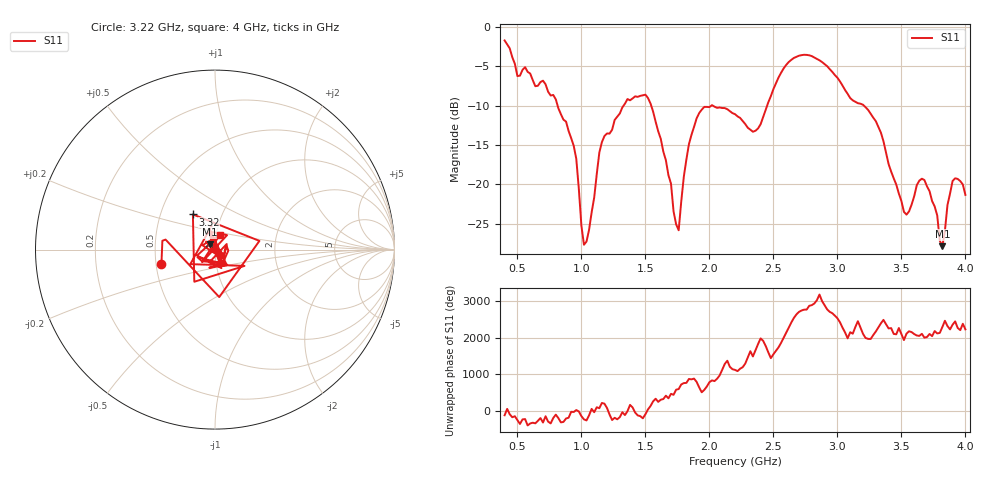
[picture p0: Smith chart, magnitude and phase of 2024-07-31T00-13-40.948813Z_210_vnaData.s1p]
!Created with skrf (http://scikit-rf.org).
# Hz S RI R 50.0
!freq ReS11 ImS11
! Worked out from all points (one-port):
!   181 points, 400 MHz to 4 GHz, reference 50 ohm
!   lowest |S11| = -27.8 dB at 3.82 GHz (marker M1), VSWR 1.08, Z = 47.1 + j2.7 ohm
!   |S11| at or under -10 dB: 814.2 MHz to 1.329 GHz (515.1 MHz wide, 48.1 % of centre); 1.545 GHz to 2.014 GHz (469 MHz wide, 26.3 % of centre); 3.208 GHz to end of sweep (the widest 3 of 4)
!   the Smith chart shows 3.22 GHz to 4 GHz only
!   S11 on the Smith chart (normalised r, x): 3.22 GHz: 0.53, -0.10; 3.32 GHz: 0.73, +0.30; 4 GHz: 1.04, +0.17
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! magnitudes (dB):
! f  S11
! 400 MHz  -1.7
! 500 MHz  -6.2
! 700 MHz  -6.8
! 860 MHz  -11.8
! 960 MHz  -16.7
! 1.02 GHz  -27.7
! 1.06 GHz  -25.8
! 1.16 GHz  -14.6
! 1.3 GHz  -11.0
! 1.52 GHz  -9.0
! 1.66 GHz  -16.9
! 1.76 GHz  -25.8
! 1.84 GHz  -14.9
! 1.92 GHz  -10.9
! 2.2 GHz  -11.1
! 2.38 GHz  -12.9
! 2.66 GHz  -3.9
! 2.88 GHz  -4.5
! 3.1 GHz  -9.0
! 3.22 GHz  -10.2
! 3.32 GHz  -12.7
! 3.52 GHz  -23.5
! 3.56 GHz  -23.4
! 3.68 GHz  -19.4
! 3.78 GHz  -24.0
! 3.82 GHz  -27.8
! 3.9 GHz  -19.6
! 4 GHz  -21.3
